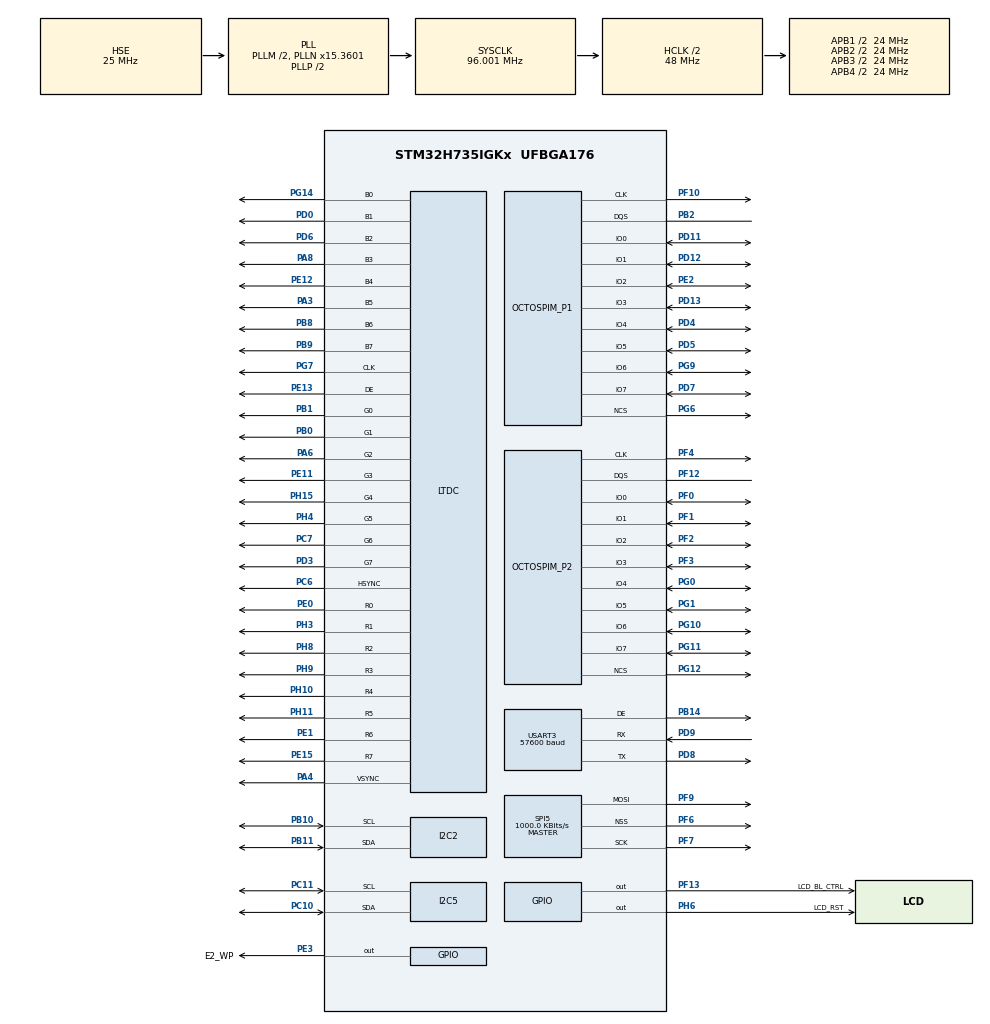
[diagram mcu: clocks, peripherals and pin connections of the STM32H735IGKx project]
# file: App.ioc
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CORTEX_M7.AccessPermission-Cortex_Memory_Protection_Unit_Region0_Settings=MPU_REGION_FULL_ACCESS
CORTEX_M7.AccessPermission-Cortex_Memory_Protection_Unit_Region2_Settings=MPU_REGION_FULL_ACCESS
CORTEX_M7.AccessPermission-Cortex_Memory_Protection_Unit_Region4_Settings=MPU_REGION_FULL_ACCESS
CORTEX_M7.BaseAddress-Cortex_Memory_Protection_Unit_Region0_Settings=0x24000000
CORTEX_M7.BaseAddress-Cortex_Memory_Protection_Unit_Region1_Settings=0x70000000
CORTEX_M7.BaseAddress-Cortex_Memory_Protection_Unit_Region2_Settings=0x70000000
CORTEX_M7.BaseAddress-Cortex_Memory_Protection_Unit_Region3_Settings=0x90000000
CORTEX_M7.BaseAddress-Cortex_Memory_Protection_Unit_Region4_Settings=0x90000000
CORTEX_M7.CPU_DCache=Enabled
CORTEX_M7.CPU_ICache=Enabled
CORTEX_M7.DisableExec-Cortex_Memory_Protection_Unit_Region0_Settings=MPU_INSTRUCTION_ACCESS_DISABLE
CORTEX_M7.DisableExec-Cortex_Memory_Protection_Unit_Region1_Settings=MPU_INSTRUCTION_ACCESS_DISABLE
CORTEX_M7.DisableExec-Cortex_Memory_Protection_Unit_Region2_Settings=MPU_INSTRUCTION_ACCESS_DISABLE
CORTEX_M7.DisableExec-Cortex_Memory_Protection_Unit_Region3_Settings=MPU_INSTRUCTION_ACCESS_DISABLE
CORTEX_M7.DisableExec-Cortex_Memory_Protection_Unit_Region4_Settings=MPU_INSTRUCTION_ACCESS_ENABLE
CORTEX_M7.Enable-Cortex_Memory_Protection_Unit_Region0_Settings=MPU_REGION_ENABLE
CORTEX_M7.Enable-Cortex_Memory_Protection_Unit_Region1_Settings=MPU_REGION_ENABLE
CORTEX_M7.Enable-Cortex_Memory_Protection_Unit_Region2_Settings=MPU_REGION_ENABLE
CORTEX_M7.Enable-Cortex_Memory_Protection_Unit_Region3_Settings=MPU_REGION_ENABLE
CORTEX_M7.Enable-Cortex_Memory_Protection_Unit_Region4_Settings=MPU_REGION_ENABLE
CORTEX_M7.IsBufferable-Cortex_Memory_Protection_Unit_Region0_Settings=MPU_ACCESS_BUFFERABLE
CORTEX_M7.IsBufferable-Cortex_Memory_Protection_Unit_Region2_Settings=MPU_ACCESS_BUFFERABLE
CORTEX_M7.IsBufferable-Cortex_Memory_Protection_Unit_Region4_Settings=MPU_ACCESS_NOT_BUFFERABLE
CORTEX_M7.IsCacheable-Cortex_Memory_Protection_Unit_Region0_Settings=MPU_ACCESS_CACHEABLE
CORTEX_M7.IsCacheable-Cortex_Memory_Protection_Unit_Region2_Settings=MPU_ACCESS_CACHEABLE
CORTEX_M7.IsCacheable-Cortex_Memory_Protection_Unit_Region4_Settings=MPU_ACCESS_CACHEABLE
CORTEX_M7.IsShareable-Cortex_Memory_Protection_Unit_Region2_Settings=MPU_ACCESS_NOT_SHAREABLE
CORTEX_M7.IsShareable-Cortex_Memory_Protection_Unit_Region4_Settings=MPU_ACCESS_NOT_SHAREABLE
CORTEX_M7.MPU_Control=MPU_PRIVILEGED_DEFAULT
CORTEX_M7.Size-Cortex_Memory_Protection_Unit_Region0_Settings=MPU_REGION_SIZE_512KB
CORTEX_M7.Size-Cortex_Memory_Protection_Unit_Region1_Settings=MPU_REGION_SIZE_512MB
CORTEX_M7.Size-Cortex_Memory_Protection_Unit_Region2_Settings=MPU_REGION_SIZE_8MB
CORTEX_M7.Size-Cortex_Memory_Protection_Unit_Region3_Settings=MPU_REGION_SIZE_512MB
CORTEX_M7.Size-Cortex_Memory_Protection_Unit_Region4_Settings=MPU_REGION_SIZE_64MB
DMA2D.ColorMode=DMA2D_OUTPUT_RGB888
DMA2D.Mode=DMA2D_R2M
FREERTOS.Tasks01=defaultTask,24,256,StartDefaultTask,Default,NULL,Dynamic,NULL,NULL;TouchGFXTask,40,1024,TouchGFX_Task,As external,NULL,Dynamic,NULL,NULL
FREERTOS.configUSE_APPLICATION_TASK_TAG=1
FREERTOS.configUSE_IDLE_HOOK=1
FREERTOS.configUSE_NEWLIB_REENTRANT=1
I2C2.Timing=0xC0000709
I2C5.Timing=0xC0000709
LTDC.ActiveH=672
LTDC.ActiveW=720
LTDC.Alpha0_L0=0
LTDC.Alpha_L0=255
LTDC.Blue=0
LTDC.Blue_L0=0
LTDC.FBStartAdress_L0=0x70000000
LTDC.FBStartAdress_L1=0x70000000
LTDC.Green=0
LTDC.Green_L0=0
LTDC.HBP=42
LTDC.HFP=44
LTDC.HSync=3
LTDC.ImageHeight_L0=672
LTDC.ImageWidth_L0=720
LTDC.Layers=0
LTDC.PixelFormat_L0=LTDC_PIXEL_FORMAT_ARGB8888
LTDC.Red=0
LTDC.Red_L0=0
LTDC.VBP=14
LTDC.VFP=16
LTDC.VSync=2
LTDC.WindowX0_L0=0
LTDC.WindowX1_L0=720
LTDC.WindowY0_L0=0
LTDC.WindowY1_L0=672
Mcu.Family=STM32H7
Mcu.Name=STM32H735IGKx
Mcu.Package=UFBGA176
NVIC.DMA2D_IRQn=true\:5\:0\:true\:false\:true\:false\:true\:true\:true
NVIC.LTDC_IRQn=true\:5\:0\:true\:false\:true\:false\:true\:true\:true
NVIC.PriorityGroup=NVIC_PRIORITYGROUP_4
NVIC.TIM6_DAC_IRQn=true\:15\:0\:false\:false\:true\:false\:false\:true\:true
NVIC.TimeBase=TIM6_DAC_IRQn
NVIC.TimeBaseIP=TIM6
OCTOSPI1.ChipSelectBoundary=0
OCTOSPI1.ChipSelectHighTime=2
OCTOSPI1.ClockPrescaler=2
OCTOSPI1.DelayBlockBypass=HAL_OSPI_DELAY_BLOCK_BYPASSED
OCTOSPI1.DelayHoldQuarterCycle=HAL_OSPI_DHQC_DISABLE
OCTOSPI1.DeviceSize=32
OCTOSPI1.FifoThreshold=4
OCTOSPI1.MemoryType=HAL_OSPI_MEMTYPE_MACRONIX
OCTOSPI2.AccessTime=6
OCTOSPI2.ChipSelectBoundary=23
OCTOSPI2.ChipSelectHighTime=4
OCTOSPI2.ClkChipSelectHighTime=0
OCTOSPI2.ClockPrescaler=2
OCTOSPI2.DelayBlockBypass=HAL_OSPI_DELAY_BLOCK_USED
OCTOSPI2.DelayHoldQuarterCycle=HAL_OSPI_DHQC_ENABLE
OCTOSPI2.DeviceSize=24
OCTOSPI2.FifoThreshold=4
OCTOSPI2.LatencyMode=HAL_OSPI_FIXED_LATENCY
OCTOSPI2.RWRecoveryTime=3
OCTOSPI2.Refresh=400
OCTOSPI2.WriteZeroLatency=HAL_OSPI_LATENCY_ON_WRITE
PA13(JTMS/SWDIO).Mode=Serial_Wire
PA13(JTMS/SWDIO).Signal=DEBUG_JTMS-SWDIO
PA14(JTCK/SWCLK).Mode=Serial_Wire
PA14(JTCK/SWCLK).Signal=DEBUG_JTCK-SWCLK
PA3.GPIO_Speed=GPIO_SPEED_FREQ_VERY_HIGH
PA3.Mode=RGB888
PA3.Signal=LTDC_B5
PA4.GPIO_Speed=GPIO_SPEED_FREQ_VERY_HIGH
PA4.Mode=RGB888
PA4.Signal=LTDC_VSYNC
PA6.GPIO_Speed=GPIO_SPEED_FREQ_VERY_HIGH
PA6.Mode=RGB888
PA6.Signal=LTDC_G2
PA8.GPIO_Speed=GPIO_SPEED_FREQ_VERY_HIGH
PA8.Mode=RGB888
PA8.Signal=LTDC_B3
PB0.GPIO_Speed=GPIO_SPEED_FREQ_VERY_HIGH
PB0.Mode=RGB888
PB0.Signal=LTDC_G1
PB1.GPIO_Speed=GPIO_SPEED_FREQ_VERY_HIGH
PB1.Mode=RGB888
PB1.Signal=LTDC_G0
PB10.Mode=I2C
PB10.Signal=I2C2_SCL
PB11.Mode=I2C
PB11.Signal=I2C2_SDA
PB14.Mode=Hardware Flow Control (RS485)
PB14.Signal=USART3_DE
PB2.Mode=OCTOSPI1_Port1_DQS
PB2.Signal=OCTOSPIM_P1_DQS
PB8.GPIO_FM8=SYSCFG_PMCR_I2C_PB8_FMP
PB8.GPIO_Speed=GPIO_SPEED_FREQ_VERY_HIGH
PB8.Mode=RGB888
PB8.Signal=LTDC_B6
PB9.GPIO_FM9=SYSCFG_PMCR_I2C_PB9_FMP
PB9.GPIO_Speed=GPIO_SPEED_FREQ_VERY_HIGH
PB9.Mode=RGB888
PB9.Signal=LTDC_B7
PC10.Mode=I2C
PC10.Signal=I2C5_SDA
PC11.Mode=I2C
PC11.Signal=I2C5_SCL
PC14-OSC32_IN.Mode=LSE-External-Oscillator
PC14-OSC32_IN.Signal=RCC_OSC32_IN
PC15-OSC32_OUT.Mode=LSE-External-Oscillator
PC15-OSC32_OUT.Signal=RCC_OSC32_OUT
PC6.GPIO_Speed=GPIO_SPEED_FREQ_VERY_HIGH
PC6.Mode=RGB888
PC6.Signal=LTDC_HSYNC
PC7.GPIO_Speed=GPIO_SPEED_FREQ_VERY_HIGH
PC7.Mode=RGB888
PC7.Signal=LTDC_G6
PD0.Mode=RGB888
PD0.Signal=LTDC_B1
PD11.Mode=OCTOSPI1_IOL_Port1L
PD11.Signal=OCTOSPIM_P1_IO0
PD12.Mode=OCTOSPI1_IOL_Port1L
PD12.Signal=OCTOSPIM_P1_IO1
PD13.Mode=OCTOSPI1_IOL_Port1L
PD13.Signal=OCTOSPIM_P1_IO3
PD3.GPIO_Speed=GPIO_SPEED_FREQ_VERY_HIGH
PD3.Mode=RGB888
PD3.Signal=LTDC_G7
PD4.Mode=OCTOSPI1_IOH_Port1H
PD4.Signal=OCTOSPIM_P1_IO4
PD5.Mode=OCTOSPI1_IOH_Port1H
PD5.Signal=OCTOSPIM_P1_IO5
PD6.GPIO_Speed=GPIO_SPEED_FREQ_VERY_HIGH
PD6.Mode=RGB888
PD6.Signal=LTDC_B2
PD7.Mode=OCTOSPI1_IOH_Port1H
PD7.Signal=OCTOSPIM_P1_IO7
PD8.Mode=Asynchronous
PD8.Signal=USART3_TX
PD9.Mode=Asynchronous
PD9.Signal=USART3_RX
PE0.Mode=RGB888
PE0.Signal=LTDC_R0
PE1.GPIO_Speed=GPIO_SPEED_FREQ_VERY_HIGH
PE1.Mode=RGB888
PE1.Signal=LTDC_R6
PE11.GPIO_Speed=GPIO_SPEED_FREQ_VERY_HIGH
PE11.Mode=RGB888
PE11.Signal=LTDC_G3
PE12.GPIO_Speed=GPIO_SPEED_FREQ_VERY_HIGH
PE12.Mode=RGB888
PE12.Signal=LTDC_B4
PE13.GPIO_Speed=GPIO_SPEED_FREQ_VERY_HIGH
PE13.Mode=RGB888
PE13.Signal=LTDC_DE
PE15.GPIO_Speed=GPIO_SPEED_FREQ_VERY_HIGH
PE15.Mode=RGB888
PE15.Signal=LTDC_R7
PE2.Mode=OCTOSPI1_IOL_Port1L
PE2.Signal=OCTOSPIM_P1_IO2
PE3.GPIO_Label=E2_WP
PE3.Signal=GPIO_Output
PF0.Mode=OCTOSPI2_IOL_Port2L
PF0.Signal=OCTOSPIM_P2_IO0
PF1.Mode=OCTOSPI2_IOL_Port2L
PF1.Signal=OCTOSPIM_P2_IO1
PF10.Mode=O1_P1_CLK
PF10.Signal=OCTOSPIM_P1_CLK
PF12.Mode=OCTOSPI2_Port2_DQS
PF12.Signal=OCTOSPIM_P2_DQS
PF13.GPIO_Label=LCD_BL_CTRL
PF13.PinState=GPIO_PIN_RESET
PF13.Signal=GPIO_Output
PF14.GPIO_Pu=GPIO_PULLUP
PF14.Signal=I2C4_SCL
PF15.GPIO_Pu=GPIO_PULLUP
PF15.Signal=I2C4_SDA
PF2.Mode=OCTOSPI2_IOL_Port2L
PF2.Signal=OCTOSPIM_P2_IO2
PF3.Mode=OCTOSPI2_IOL_Port2L
PF3.Signal=OCTOSPIM_P2_IO3
PF4.Mode=O2_P2_CLK
PF4.Signal=OCTOSPIM_P2_CLK
PF6.Mode=NSS_Signal_Hard_Output
PF6.Signal=SPI5_NSS
PF7.Mode=TX_Only_Simplex_Unidirect_Master
PF7.Signal=SPI5_SCK
PF9.Mode=TX_Only_Simplex_Unidirect_Master
PF9.Signal=SPI5_MOSI
PG0.Mode=OCTOSPI2_IOH_Port2H
PG0.Signal=OCTOSPIM_P2_IO4
PG1.Mode=OCTOSPI2_IOH_Port2H
PG1.Signal=OCTOSPIM_P2_IO5
PG10.Mode=OCTOSPI2_IOH_Port2H
PG10.Signal=OCTOSPIM_P2_IO6
PG11.Mode=OCTOSPI2_IOH_Port2H
PG11.Signal=OCTOSPIM_P2_IO7
PG12.Mode=OCTOSPI2_Port2_NCS
PG12.Signal=OCTOSPIM_P2_NCS
PG14.GPIO_Speed=GPIO_SPEED_FREQ_VERY_HIGH
PG14.Mode=RGB888
PG14.Signal=LTDC_B0
PG6.Mode=OCTOSPI1_Port1_NCS
PG6.Signal=OCTOSPIM_P1_NCS
PG7.GPIO_Speed=GPIO_SPEED_FREQ_VERY_HIGH
PG7.Mode=RGB888
PG7.Signal=LTDC_CLK
PG9.Mode=OCTOSPI1_IOH_Port1H
PG9.Signal=OCTOSPIM_P1_IO6
PH0-OSC_IN.Mode=HSE-External-Oscillator
PH0-OSC_IN.Signal=RCC_OSC_IN
PH1-OSC_OUT.Mode=HSE-External-Oscillator
PH1-OSC_OUT.Signal=RCC_OSC_OUT
PH10.GPIO_Speed=GPIO_SPEED_FREQ_VERY_HIGH
PH10.Mode=RGB888
PH10.Signal=LTDC_R4
PH11.GPIO_Speed=GPIO_SPEED_FREQ_VERY_HIGH
PH11.Mode=RGB888
PH11.Signal=LTDC_R5
PH15.GPIO_Speed=GPIO_SPEED_FREQ_VERY_HIGH
PH15.Mode=RGB888
PH15.Signal=LTDC_G4
PH3.GPIO_Speed=GPIO_SPEED_FREQ_VERY_HIGH
PH3.Mode=RGB888
PH3.Signal=LTDC_R1
PH4.GPIO_Speed=GPIO_SPEED_FREQ_VERY_HIGH
PH4.Mode=RGB888
PH4.Signal=LTDC_G5
PH6.GPIO_Label=LCD_RST
PH6.PinState=GPIO_PIN_RESET
PH6.Signal=GPIO_Output
PH8.GPIO_Speed=GPIO_SPEED_FREQ_VERY_HIGH
PH8.Mode=RGB888
PH8.Signal=LTDC_R2
PH9.GPIO_Speed=GPIO_SPEED_FREQ_VERY_HIGH
PH9.Mode=RGB888
PH9.Signal=LTDC_R3
ProjectManager.HeapSize=0x1000
ProjectManager.StackSize=0x1000
ProjectManager.TargetToolchain=STM32CubeIDE
RCC.ADCFreq_Value=19200134.27734375
RCC.APB1Freq_Value=24000167.846679688
RCC.APB2Freq_Value=24000167.846679688
RCC.APB3Freq_Value=24000167.846679688
RCC.APB4Freq_Value=24000167.846679688
RCC.CortexFreq_Value=96000671.38671875
RCC.D1PPRE=RCC_APB3_DIV2
RCC.D2PPRE1=RCC_APB1_DIV2
RCC.D2PPRE2=RCC_APB2_DIV2
RCC.D3PPRE=RCC_APB4_DIV2
RCC.DIVM1=2
RCC.DIVM2=2
RCC.DIVM3=1
RCC.DIVN1=15
RCC.DIVN2=15
RCC.DIVN3=4
RCC.DIVP2=10
RCC.DIVQ3=5
RCC.DIVR3=9
RCC.HCLKFreq_Value=48000335.693359375
RCC.HPRE=RCC_HCLK_DIV2
RCC.PLL2FRACN=2950
RCC.PLL3FRACN=0
RCC.PLLFRACN=2950
RCC.PLLSourceVirtual=RCC_PLLSOURCE_HSE
RCC.QSPICLockSelection=RCC_OSPICLKSOURCE_PLL2
RCC.SYSCLKFreq_VALUE=96000671.38671875
RCC.SYSCLKSource=RCC_SYSCLKSOURCE_PLLCLK
RCC.Spi45ClockSelection=RCC_SPI45CLKSOURCE_HSI
RCC.SupplySource=PWR_DIRECT_SMPS_SUPPLY
RCC.USBFreq_Value=96000671.38671875
SPI5.BaudRatePrescaler=SPI_BAUDRATEPRESCALER_64
SPI5.CalculateBaudRate=1000.0 KBits/s
SPI5.DataSize=SPI_DATASIZE_9BIT
SPI5.Direction=SPI_DIRECTION_2LINES_TXONLY
SPI5.Mode=SPI_MODE_MASTER
SPI5.VirtualNSS=VM_NSSHARD
SPI5.VirtualType=VM_MASTER
STMicroelectronics.X-CUBE-TOUCHGFX.4.20.0.ApplicationCcGraphicsJjApplication=TouchGFXOoGenerator
STMicroelectronics.X-CUBE-TOUCHGFX.4.20.0.tgfx_address1=0x70000000
STMicroelectronics.X-CUBE-TOUCHGFX.4.20.0.tgfx_address2=0x701D8800
STMicroelectronics.X-CUBE-TOUCHGFX.4.20.0.tgfx_buffering_strategy=Double
STMicroelectronics.X-CUBE-TOUCHGFX.4.20.0.tgfx_display_interface=disp_ltdc
STMicroelectronics.X-CUBE-TOUCHGFX.4.20.0.tgfx_hardware_accelerator=dma_2d
STMicroelectronics.X-CUBE-TOUCHGFX.4.20.0.tgfx_location=By Address
STMicroelectronics.X-CUBE-TOUCHGFX.4.20.0.tgfx_pixel_format=ARGB8888\:32
STMicroelectronics.X-CUBE-TOUCHGFX.4.20.0.tgfx_vsync=vsync_ltdc
USART3.BaudRate=57600
USART3.VirtualMode-Asynchronous=VM_ASYNC
USART3.VirtualMode-Hardware\ Flow\ Control\ (RS485)=VM_ASYNC
VP_CRC_VS_CRC.Mode=CRC_Activate
VP_DMA2D_VS_DMA2D.Mode=DMA2D_Activate
VP_FREERTOS_VS_CMSIS_V2.Mode=CMSIS_V2
VP_OCTOSPI1_VS_octo.Mode=octo_mode
VP_OCTOSPI2_VS_octo.Mode=hyperbus_mode
VP_STMicroelectronics.X-CUBE-TOUCHGFX_VS_GraphicsJjApplication_4.20.0.Mode=GraphicsJjApplication
VP_SYS_VS_tim6.Mode=TIM6
board=custom

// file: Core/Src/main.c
/* USER CODE BEGIN Header */
/**
  ******************************************************************************
  * @file           : main.c
  * @brief          : Main program body
  ******************************************************************************
  * @attention
  *
  * Copyright (c) 2023 STMicroelectronics.
  * All rights reserved.
  *
  * This software is licensed under terms that can be found in the LICENSE file
  * in the root directory of this software component.
  * If no LICENSE file comes with this software, it is provided AS-IS.
  *
  ******************************************************************************
  */
/* USER CODE END Header */
#include "main.h"
#include "cmsis_os.h"
#include "app_touchgfx.h"

/* USER CODE BEGIN Includes */
#include "stm32h735g_discovery_ospi.h"
#include "stm32h7xx_hal_ospi.h"
#include "L8_320x240.h"
#include "RGB565_320x240.h"
#include "app.h"
#include "framework.h"
#include "project.h"
/* USER CODE END Includes */

CRC_HandleTypeDef hcrc;

DMA2D_HandleTypeDef hdma2d;

I2C_HandleTypeDef hi2c2;
I2C_HandleTypeDef hi2c5;

LTDC_HandleTypeDef hltdc;

OSPI_HandleTypeDef hospi1;
OSPI_HandleTypeDef hospi2;

SPI_HandleTypeDef hspi5;

UART_HandleTypeDef huart3;

/* Definitions for defaultTask */
osThreadId_t defaultTaskHandle;
const osThreadAttr_t defaultTask_attributes = {
  .name = "defaultTask",
  .stack_size = 256 * 4,
  .priority = (osPriority_t) osPriorityNormal,
};
/* Definitions for TouchGFXTask */
osThreadId_t TouchGFXTaskHandle;
const osThreadAttr_t TouchGFXTask_attributes = {
  .name = "TouchGFXTask",
  .stack_size = 1024 * 4,
  .priority = (osPriority_t) osPriorityHigh,
};

void SystemClock_Config(void);
void PeriphCommonClock_Config(void);
static void MPU_Config(void);
static void MX_GPIO_Init(void);
static void MX_LTDC_Init(void);
static void MX_OCTOSPI1_Init(void);
static void MX_OCTOSPI2_Init(void);
static void MX_SPI5_Init(void);
static void MX_USART3_UART_Init(void);
static void MX_CRC_Init(void);
static void MX_DMA2D_Init(void);
static void MX_I2C2_Init(void);
static void MX_I2C5_Init(void);
void StartDefaultTask(void *argument);
extern void TouchGFX_Task(void *argument);

/* USER CODE BEGIN PFP */
void NV3052_RGB_init(void);
/* USER CODE END PFP */

int main(void)
{

  /* MPU Configuration--------------------------------------------------------*/
  MPU_Config();

  /* Enable I-Cache---------------------------------------------------------*/
  SCB_EnableICache();

  /* Enable D-Cache---------------------------------------------------------*/
  SCB_EnableDCache();

  /* MCU Configuration--------------------------------------------------------*/

  /* Reset of all peripherals, Initializes the Flash interface and the Systick. */
  HAL_Init();

  /* Configure the system clock */
  SystemClock_Config();

/* Configure the peripherals common clocks */
  PeriphCommonClock_Config();

  /* USER CODE BEGIN SysInit */
  MX_I2C2_Init();
  FMK_Boot();

  MX_GPIO_Init();
  MX_OCTOSPI2_Init();
  /* USER CODE END SysInit */

  /* Initialize all configured peripherals */
  #define CUBEMX_INITIALIZATION_MODIFIED
  MX_GPIO_Init();
  MX_LTDC_Init();
  MX_OCTOSPI1_Init();
//  MX_OCTOSPI2_Init();
  MX_SPI5_Init();
  MX_USART3_UART_Init();
  MX_CRC_Init();
  MX_DMA2D_Init();
  MX_I2C2_Init();
  MX_I2C5_Init();
  MX_TouchGFX_Init();
  /* Call PreOsInit function */
  MX_TouchGFX_PreOSInit();
  /* USER CODE BEGIN 2 */

 #ifndef CUBEMX_INITIALIZATION_MODIFIED
#error "CubeMX generated hardware initialization sequence must be modified in main.c"
//Copy and uncomment the following line at the top of the original section above
//  #define CUBEMX_INITIALIZATION_MODIFIED
//Comment the following line in the original section above
//  MX_OCTOSPI2_Init();
#endif

  /* USER CODE END 2 */

  /* Init scheduler */
  osKernelInitialize();

  /* Create the thread(s) */
  /* creation of defaultTask */
  defaultTaskHandle = osThreadNew(StartDefaultTask, NULL, &defaultTask_attributes);

  /* creation of TouchGFXTask */
  TouchGFXTaskHandle = osThreadNew(TouchGFX_Task, NULL, &TouchGFXTask_attributes);

  /* USER CODE BEGIN RTOS_EVENTS */
  /* add events, ... */
  FMK_Init();
  /* USER CODE END RTOS_EVENTS */

  /* Start scheduler */
  osKernelStart();
  /* We should never get here as control is now taken by the scheduler */
  /* Infinite loop */
  while (1)
  {

  }
}

void SystemClock_Config(void)
{
  RCC_OscInitTypeDef RCC_OscInitStruct = {0};
  RCC_ClkInitTypeDef RCC_ClkInitStruct = {0};

  /** Supply configuration update enable
  */
  HAL_PWREx_ConfigSupply(PWR_DIRECT_SMPS_SUPPLY);

  /** Configure the main internal regulator output voltage
  */
  __HAL_PWR_VOLTAGESCALING_CONFIG(PWR_REGULATOR_VOLTAGE_SCALE3);

  while(!__HAL_PWR_GET_FLAG(PWR_FLAG_VOSRDY)) {}

  /** Initializes the RCC Oscillators according to the specified parameters
  * in the RCC_OscInitTypeDef structure.
  */
  RCC_OscInitStruct.OscillatorType = RCC_OSCILLATORTYPE_HSI|RCC_OSCILLATORTYPE_HSE;
  RCC_OscInitStruct.HSEState = RCC_HSE_ON;
  RCC_OscInitStruct.HSIState = RCC_HSI_DIV1;
  RCC_OscInitStruct.HSICalibrationValue = 64;
  RCC_OscInitStruct.PLL.PLLState = RCC_PLL_ON;
  RCC_OscInitStruct.PLL.PLLSource = RCC_PLLSOURCE_HSE;
  RCC_OscInitStruct.PLL.PLLM = 2;
  RCC_OscInitStruct.PLL.PLLN = 15;
  RCC_OscInitStruct.PLL.PLLP = 2;
  RCC_OscInitStruct.PLL.PLLQ = 2;
  RCC_OscInitStruct.PLL.PLLR = 2;
  RCC_OscInitStruct.PLL.PLLRGE = RCC_PLL1VCIRANGE_3;
  RCC_OscInitStruct.PLL.PLLVCOSEL = RCC_PLL1VCOWIDE;
  RCC_OscInitStruct.PLL.PLLFRACN = 2950;
  if (HAL_RCC_OscConfig(&RCC_OscInitStruct) != HAL_OK)
  {
    Error_Handler();
  }

  /** Initializes the CPU, AHB and APB buses clocks
  */
  RCC_ClkInitStruct.ClockType = RCC_CLOCKTYPE_HCLK|RCC_CLOCKTYPE_SYSCLK
                              |RCC_CLOCKTYPE_PCLK1|RCC_CLOCKTYPE_PCLK2
                              |RCC_CLOCKTYPE_D3PCLK1|RCC_CLOCKTYPE_D1PCLK1;
  RCC_ClkInitStruct.SYSCLKSource = RCC_SYSCLKSOURCE_PLLCLK;
  RCC_ClkInitStruct.SYSCLKDivider = RCC_SYSCLK_DIV1;
  RCC_ClkInitStruct.AHBCLKDivider = RCC_HCLK_DIV2;
  RCC_ClkInitStruct.APB3CLKDivider = RCC_APB3_DIV2;
  RCC_ClkInitStruct.APB1CLKDivider = RCC_APB1_DIV2;
  RCC_ClkInitStruct.APB2CLKDivider = RCC_APB2_DIV2;
  RCC_ClkInitStruct.APB4CLKDivider = RCC_APB4_DIV2;

  if (HAL_RCC_ClockConfig(&RCC_ClkInitStruct, FLASH_LATENCY_1) != HAL_OK)
  {
    Error_Handler();
  }
}

void PeriphCommonClock_Config(void)
{
  RCC_PeriphCLKInitTypeDef PeriphClkInitStruct = {0};

  /** Initializes the peripherals clock
  */
  PeriphClkInitStruct.PeriphClockSelection = RCC_PERIPHCLK_OSPI;
  PeriphClkInitStruct.PLL2.PLL2M = 2;
  PeriphClkInitStruct.PLL2.PLL2N = 15;
  PeriphClkInitStruct.PLL2.PLL2P = 10;
  PeriphClkInitStruct.PLL2.PLL2Q = 2;
  PeriphClkInitStruct.PLL2.PLL2R = 2;
  PeriphClkInitStruct.PLL2.PLL2RGE = RCC_PLL2VCIRANGE_3;
  PeriphClkInitStruct.PLL2.PLL2VCOSEL = RCC_PLL2VCOWIDE;
  PeriphClkInitStruct.PLL2.PLL2FRACN = 2950;
  PeriphClkInitStruct.OspiClockSelection = RCC_OSPICLKSOURCE_PLL2;
  if (HAL_RCCEx_PeriphCLKConfig(&PeriphClkInitStruct) != HAL_OK)
  {
    Error_Handler();
  }
}

static void MX_CRC_Init(void)
{

  hcrc.Instance = CRC;
  hcrc.Init.DefaultPolynomialUse = DEFAULT_POLYNOMIAL_ENABLE;
  hcrc.Init.DefaultInitValueUse = DEFAULT_INIT_VALUE_ENABLE;
  hcrc.Init.InputDataInversionMode = CRC_INPUTDATA_INVERSION_NONE;
  hcrc.Init.OutputDataInversionMode = CRC_OUTPUTDATA_INVERSION_DISABLE;
  hcrc.InputDataFormat = CRC_INPUTDATA_FORMAT_BYTES;
  if (HAL_CRC_Init(&hcrc) != HAL_OK)
  {
    Error_Handler();
  }

}

static void MX_DMA2D_Init(void)
{

  hdma2d.Instance = DMA2D;
  hdma2d.Init.Mode = DMA2D_R2M;
  hdma2d.Init.ColorMode = DMA2D_OUTPUT_RGB888;
  hdma2d.Init.OutputOffset = 0;
  if (HAL_DMA2D_Init(&hdma2d) != HAL_OK)
  {
    Error_Handler();
  }

}

static void MX_I2C2_Init(void)
{

  hi2c2.Instance = I2C2;
  hi2c2.Init.Timing = 0xC0000709;
  hi2c2.Init.OwnAddress1 = 0;
  hi2c2.Init.AddressingMode = I2C_ADDRESSINGMODE_7BIT;
  hi2c2.Init.DualAddressMode = I2C_DUALADDRESS_DISABLE;
  hi2c2.Init.OwnAddress2 = 0;
  hi2c2.Init.OwnAddress2Masks = I2C_OA2_NOMASK;
  hi2c2.Init.GeneralCallMode = I2C_GENERALCALL_DISABLE;
  hi2c2.Init.NoStretchMode = I2C_NOSTRETCH_DISABLE;
  if (HAL_I2C_Init(&hi2c2) != HAL_OK)
  {
    Error_Handler();
  }

  /** Configure Analogue filter
  */
  if (HAL_I2CEx_ConfigAnalogFilter(&hi2c2, I2C_ANALOGFILTER_ENABLE) != HAL_OK)
  {
    Error_Handler();
  }

  /** Configure Digital filter
  */
  if (HAL_I2CEx_ConfigDigitalFilter(&hi2c2, 0) != HAL_OK)
  {
    Error_Handler();
  }

}

static void MX_I2C5_Init(void)
{

  hi2c5.Instance = I2C5;
  hi2c5.Init.Timing = 0xC0000709;
  hi2c5.Init.OwnAddress1 = 0;
  hi2c5.Init.AddressingMode = I2C_ADDRESSINGMODE_7BIT;
  hi2c5.Init.DualAddressMode = I2C_DUALADDRESS_DISABLE;
  hi2c5.Init.OwnAddress2 = 0;
  hi2c5.Init.OwnAddress2Masks = I2C_OA2_NOMASK;
  hi2c5.Init.GeneralCallMode = I2C_GENERALCALL_DISABLE;
  hi2c5.Init.NoStretchMode = I2C_NOSTRETCH_DISABLE;
  if (HAL_I2C_Init(&hi2c5) != HAL_OK)
  {
    Error_Handler();
  }

  /** Configure Analogue filter
  */
  if (HAL_I2CEx_ConfigAnalogFilter(&hi2c5, I2C_ANALOGFILTER_ENABLE) != HAL_OK)
  {
    Error_Handler();
  }

  /** Configure Digital filter
  */
  if (HAL_I2CEx_ConfigDigitalFilter(&hi2c5, 0) != HAL_OK)
  {
    Error_Handler();
  }

}

static void MX_LTDC_Init(void)
{

  /* USER CODE BEGIN LTDC_Init 0 */
  MX_SPI5_Init();
  NV3052_RGB_init();
  /* USER CODE END LTDC_Init 0 */

  LTDC_LayerCfgTypeDef pLayerCfg = {0};

  hltdc.Instance = LTDC;
  hltdc.Init.HSPolarity = LTDC_HSPOLARITY_AL;
  hltdc.Init.VSPolarity = LTDC_VSPOLARITY_AL;
  hltdc.Init.DEPolarity = LTDC_DEPOLARITY_AL;
  hltdc.Init.PCPolarity = LTDC_PCPOLARITY_IPC;
  hltdc.Init.HorizontalSync = 2;
  hltdc.Init.VerticalSync = 1;
  hltdc.Init.AccumulatedHBP = 44;
  hltdc.Init.AccumulatedVBP = 15;
  hltdc.Init.AccumulatedActiveW = 764;
  hltdc.Init.AccumulatedActiveH = 687;
  hltdc.Init.TotalWidth = 808;
  hltdc.Init.TotalHeigh = 703;
  hltdc.Init.Backcolor.Blue = 0;
  hltdc.Init.Backcolor.Green = 0;
  hltdc.Init.Backcolor.Red = 0;
  if (HAL_LTDC_Init(&hltdc) != HAL_OK)
  {
    Error_Handler();
  }
  pLayerCfg.WindowX0 = 0;
  pLayerCfg.WindowX1 = 720;
  pLayerCfg.WindowY0 = 0;
  pLayerCfg.WindowY1 = 672;
  pLayerCfg.PixelFormat = LTDC_PIXEL_FORMAT_ARGB8888;
  pLayerCfg.Alpha = 255;
  pLayerCfg.Alpha0 = 0;
  pLayerCfg.BlendingFactor1 = LTDC_BLENDING_FACTOR1_CA;
  pLayerCfg.BlendingFactor2 = LTDC_BLENDING_FACTOR2_CA;
  pLayerCfg.FBStartAdress = 0x70000000;
  pLayerCfg.ImageWidth = 720;
  pLayerCfg.ImageHeight = 672;
  pLayerCfg.Backcolor.Blue = 0;
  pLayerCfg.Backcolor.Green = 0;
  pLayerCfg.Backcolor.Red = 0;
  if (HAL_LTDC_ConfigLayer(&hltdc, &pLayerCfg, 0) != HAL_OK)
  {
    Error_Handler();
  }

}

static void MX_OCTOSPI1_Init(void)
{

  /* USER CODE BEGIN OCTOSPI1_Init 0 */
  BSP_OSPI_NOR_Init_t ospi_nor_int;
  /* USER CODE END OCTOSPI1_Init 0 */

  OSPIM_CfgTypeDef sOspiManagerCfg = {0};

  /* OCTOSPI1 parameter configuration*/
  hospi1.Instance = OCTOSPI1;
  hospi1.Init.FifoThreshold = 4;
  hospi1.Init.DualQuad = HAL_OSPI_DUALQUAD_DISABLE;
  hospi1.Init.MemoryType = HAL_OSPI_MEMTYPE_MACRONIX;
  hospi1.Init.DeviceSize = 32;
  hospi1.Init.ChipSelectHighTime = 2;
  hospi1.Init.FreeRunningClock = HAL_OSPI_FREERUNCLK_DISABLE;
  hospi1.Init.ClockMode = HAL_OSPI_CLOCK_MODE_0;
  hospi1.Init.WrapSize = HAL_OSPI_WRAP_NOT_SUPPORTED;
  hospi1.Init.ClockPrescaler = 2;
  hospi1.Init.SampleShifting = HAL_OSPI_SAMPLE_SHIFTING_NONE;
  hospi1.Init.DelayHoldQuarterCycle = HAL_OSPI_DHQC_DISABLE;
  hospi1.Init.ChipSelectBoundary = 0;
  hospi1.Init.DelayBlockBypass = HAL_OSPI_DELAY_BLOCK_BYPASSED;
  hospi1.Init.MaxTran = 0;
  hospi1.Init.Refresh = 0;
  if (HAL_OSPI_Init(&hospi1) != HAL_OK)
  {
    Error_Handler();
  }
  sOspiManagerCfg.ClkPort = 1;
  sOspiManagerCfg.DQSPort = 1;
  sOspiManagerCfg.NCSPort = 1;
  sOspiManagerCfg.IOLowPort = HAL_OSPIM_IOPORT_1_LOW;
  sOspiManagerCfg.IOHighPort = HAL_OSPIM_IOPORT_1_HIGH;
  if (HAL_OSPIM_Config(&hospi1, &sOspiManagerCfg, HAL_OSPI_TIMEOUT_DEFAULT_VALUE) != HAL_OK)
  {
    Error_Handler();
  }
  /* USER CODE BEGIN OCTOSPI1_Init 2 */

//	Init();

//	MassErase(0);
//	SectorErase(0x180000 ,0x18FFFF);

  HAL_OSPI_DeInit(&hospi1);
  ospi_nor_int.InterfaceMode = BSP_OSPI_NOR_OPI_MODE;
  ospi_nor_int.TransferRate  = BSP_OSPI_NOR_DTR_TRANSFER;
  BSP_OSPI_NOR_DeInit(0);
  if(BSP_OSPI_NOR_Init(0, &ospi_nor_int) != BSP_ERROR_NONE)
  {
    Error_Handler();
  }
  if(BSP_OSPI_NOR_EnableMemoryMappedMode(0) != BSP_ERROR_NONE)
  {
    Error_Handler();
  }

//	SectorErase(0x180000 ,0x18FFFF);
  /* USER CODE END OCTOSPI1_Init 2 */

}

static void MX_OCTOSPI2_Init(void)
{

  OSPIM_CfgTypeDef sOspiManagerCfg = {0};
  OSPI_HyperbusCfgTypeDef sHyperBusCfg = {0};

  /* USER CODE BEGIN OCTOSPI2_Init 1 */
  OSPI_HyperbusCmdTypeDef sCommand = {0};
  OSPI_MemoryMappedTypeDef sMemMappedCfg = {0};
  /* USER CODE END OCTOSPI2_Init 1 */
  /* OCTOSPI2 parameter configuration*/
  hospi2.Instance = OCTOSPI2;
  hospi2.Init.FifoThreshold = 4;
  hospi2.Init.DualQuad = HAL_OSPI_DUALQUAD_DISABLE;
  hospi2.Init.MemoryType = HAL_OSPI_MEMTYPE_HYPERBUS;
  hospi2.Init.DeviceSize = 24;
  hospi2.Init.ChipSelectHighTime = 4;
  hospi2.Init.FreeRunningClock = HAL_OSPI_FREERUNCLK_DISABLE;
  hospi2.Init.ClockMode = HAL_OSPI_CLOCK_MODE_0;
  hospi2.Init.WrapSize = HAL_OSPI_WRAP_NOT_SUPPORTED;
  hospi2.Init.ClockPrescaler = 2;
  hospi2.Init.SampleShifting = HAL_OSPI_SAMPLE_SHIFTING_NONE;
  hospi2.Init.DelayHoldQuarterCycle = HAL_OSPI_DHQC_ENABLE;
  hospi2.Init.ChipSelectBoundary = 23;
  hospi2.Init.DelayBlockBypass = HAL_OSPI_DELAY_BLOCK_USED;
  hospi2.Init.MaxTran = 0;
  hospi2.Init.Refresh = 400;
  if (HAL_OSPI_Init(&hospi2) != HAL_OK)
  {
    Error_Handler();
  }
  sOspiManagerCfg.ClkPort = 2;
  sOspiManagerCfg.DQSPort = 2;
  sOspiManagerCfg.NCSPort = 2;
  sOspiManagerCfg.IOLowPort = HAL_OSPIM_IOPORT_2_LOW;
  sOspiManagerCfg.IOHighPort = HAL_OSPIM_IOPORT_2_HIGH;
  if (HAL_OSPIM_Config(&hospi2, &sOspiManagerCfg, HAL_OSPI_TIMEOUT_DEFAULT_VALUE) != HAL_OK)
  {
    Error_Handler();
  }
  sHyperBusCfg.RWRecoveryTime = 3;
  sHyperBusCfg.AccessTime = 6;
  sHyperBusCfg.WriteZeroLatency = HAL_OSPI_LATENCY_ON_WRITE;
  sHyperBusCfg.LatencyMode = HAL_OSPI_FIXED_LATENCY;
  if (HAL_OSPI_HyperbusCfg(&hospi2, &sHyperBusCfg, HAL_OSPI_TIMEOUT_DEFAULT_VALUE) != HAL_OK)
  {
    Error_Handler();
  }
  /* USER CODE BEGIN OCTOSPI2_Init 2 */
  sCommand.AddressSpace = HAL_OSPI_MEMORY_ADDRESS_SPACE;
  sCommand.AddressSize  = HAL_OSPI_ADDRESS_32_BITS;
  sCommand.DQSMode      = HAL_OSPI_DQS_ENABLE;
  sCommand.Address      = 0;
  sCommand.NbData       = 1;

  if (HAL_OSPI_HyperbusCmd(&hospi2, &sCommand, HAL_OSPI_TIMEOUT_DEFAULT_VALUE) != HAL_OK)
  {
    Error_Handler();
  }

  sMemMappedCfg.TimeOutActivation = HAL_OSPI_TIMEOUT_COUNTER_DISABLE;

  if (HAL_OSPI_MemoryMapped(&hospi2, &sMemMappedCfg) != HAL_OK)
  {
    Error_Handler();
  }

  //Reset frame buffer external RAM memory to all 0s in order to get rid of the white noise or previous screen at startup
  uint32_t* ram = (uint32_t*)0x70000000U;
  for(uint32_t i = 0; i < (((720*672*3)*2)/4) - 1; i++)
    ram[i] = 0;
  /* USER CODE END OCTOSPI2_Init 2 */

}

static void MX_SPI5_Init(void)
{

  /* SPI5 parameter configuration*/
  hspi5.Instance = SPI5;
  hspi5.Init.Mode = SPI_MODE_MASTER;
  hspi5.Init.Direction = SPI_DIRECTION_2LINES_TXONLY;
  hspi5.Init.DataSize = SPI_DATASIZE_9BIT;
  hspi5.Init.CLKPolarity = SPI_POLARITY_LOW;
  hspi5.Init.CLKPhase = SPI_PHASE_1EDGE;
  hspi5.Init.NSS = SPI_NSS_HARD_OUTPUT;
  hspi5.Init.BaudRatePrescaler = SPI_BAUDRATEPRESCALER_64;
  hspi5.Init.FirstBit = SPI_FIRSTBIT_MSB;
  hspi5.Init.TIMode = SPI_TIMODE_DISABLE;
  hspi5.Init.CRCCalculation = SPI_CRCCALCULATION_DISABLE;
  hspi5.Init.CRCPolynomial = 0x0;
  hspi5.Init.NSSPMode = SPI_NSS_PULSE_ENABLE;
  hspi5.Init.NSSPolarity = SPI_NSS_POLARITY_LOW;
  hspi5.Init.FifoThreshold = SPI_FIFO_THRESHOLD_01DATA;
  hspi5.Init.TxCRCInitializationPattern = SPI_CRC_INITIALIZATION_ALL_ZERO_PATTERN;
  hspi5.Init.RxCRCInitializationPattern = SPI_CRC_INITIALIZATION_ALL_ZERO_PATTERN;
  hspi5.Init.MasterSSIdleness = SPI_MASTER_SS_IDLENESS_00CYCLE;
  hspi5.Init.MasterInterDataIdleness = SPI_MASTER_INTERDATA_IDLENESS_00CYCLE;
  hspi5.Init.MasterReceiverAutoSusp = SPI_MASTER_RX_AUTOSUSP_DISABLE;
  hspi5.Init.MasterKeepIOState = SPI_MASTER_KEEP_IO_STATE_DISABLE;
  hspi5.Init.IOSwap = SPI_IO_SWAP_DISABLE;
  if (HAL_SPI_Init(&hspi5) != HAL_OK)
  {
    Error_Handler();
  }

}

static void MX_USART3_UART_Init(void)
{

  huart3.Instance = USART3;
  huart3.Init.BaudRate = 57600;
  huart3.Init.WordLength = UART_WORDLENGTH_8B;
  huart3.Init.StopBits = UART_STOPBITS_1;
  huart3.Init.Parity = UART_PARITY_NONE;
  huart3.Init.Mode = UART_MODE_TX_RX;
  huart3.Init.HwFlowCtl = UART_HWCONTROL_NONE;
  huart3.Init.OverSampling = UART_OVERSAMPLING_16;
  huart3.Init.OneBitSampling = UART_ONE_BIT_SAMPLE_DISABLE;
  huart3.Init.ClockPrescaler = UART_PRESCALER_DIV1;
  huart3.AdvancedInit.AdvFeatureInit = UART_ADVFEATURE_NO_INIT;
  if (HAL_RS485Ex_Init(&huart3, UART_DE_POLARITY_HIGH, 0, 0) != HAL_OK)
  {
    Error_Handler();
  }
  if (HAL_UARTEx_SetTxFifoThreshold(&huart3, UART_TXFIFO_THRESHOLD_1_8) != HAL_OK)
  {
    Error_Handler();
  }
  if (HAL_UARTEx_SetRxFifoThreshold(&huart3, UART_RXFIFO_THRESHOLD_1_8) != HAL_OK)
  {
    Error_Handler();
  }
  if (HAL_UARTEx_DisableFifoMode(&huart3) != HAL_OK)
  {
    Error_Handler();
  }

}

static void MX_GPIO_Init(void)
{
  GPIO_InitTypeDef GPIO_InitStruct = {0};

  /* GPIO Ports Clock Enable */
  __HAL_RCC_GPIOB_CLK_ENABLE();
  __HAL_RCC_GPIOG_CLK_ENABLE();
  __HAL_RCC_GPIOD_CLK_ENABLE();
  __HAL_RCC_GPIOA_CLK_ENABLE();
  __HAL_RCC_GPIOE_CLK_ENABLE();
  __HAL_RCC_GPIOC_CLK_ENABLE();
  __HAL_RCC_GPIOH_CLK_ENABLE();
  __HAL_RCC_GPIOF_CLK_ENABLE();

  /*Configure GPIO pin Output Level */
  HAL_GPIO_WritePin(E2_WP_GPIO_Port, E2_WP_Pin, GPIO_PIN_RESET);

  /*Configure GPIO pin Output Level */
  HAL_GPIO_WritePin(LCD_BL_CTRL_GPIO_Port, LCD_BL_CTRL_Pin, GPIO_PIN_RESET);

  /*Configure GPIO pin Output Level */
  HAL_GPIO_WritePin(LCD_RST_GPIO_Port, LCD_RST_Pin, GPIO_PIN_RESET);

  /*Configure GPIO pin : E2_WP_Pin */
  GPIO_InitStruct.Pin = E2_WP_Pin;
  GPIO_InitStruct.Mode = GPIO_MODE_OUTPUT_PP;
  GPIO_InitStruct.Pull = GPIO_NOPULL;
  GPIO_InitStruct.Speed = GPIO_SPEED_FREQ_LOW;
  HAL_GPIO_Init(E2_WP_GPIO_Port, &GPIO_InitStruct);

  /*Configure GPIO pins : PF15 PF14 */
  GPIO_InitStruct.Pin = GPIO_PIN_15|GPIO_PIN_14;
  GPIO_InitStruct.Mode = GPIO_MODE_AF_OD;
  GPIO_InitStruct.Pull = GPIO_PULLUP;
  GPIO_InitStruct.Speed = GPIO_SPEED_FREQ_LOW;
  GPIO_InitStruct.Alternate = GPIO_AF4_I2C4;
  HAL_GPIO_Init(GPIOF, &GPIO_InitStruct);

  /*Configure GPIO pin : LCD_BL_CTRL_Pin */
  GPIO_InitStruct.Pin = LCD_BL_CTRL_Pin;
  GPIO_InitStruct.Mode = GPIO_MODE_OUTPUT_PP;
  GPIO_InitStruct.Pull = GPIO_NOPULL;
  GPIO_InitStruct.Speed = GPIO_SPEED_FREQ_LOW;
  HAL_GPIO_Init(LCD_BL_CTRL_GPIO_Port, &GPIO_InitStruct);

  /*Configure GPIO pin : LCD_RST_Pin */
  GPIO_InitStruct.Pin = LCD_RST_Pin;
  GPIO_InitStruct.Mode = GPIO_MODE_OUTPUT_PP;
  GPIO_InitStruct.Pull = GPIO_NOPULL;
  GPIO_InitStruct.Speed = GPIO_SPEED_FREQ_LOW;
  HAL_GPIO_Init(LCD_RST_GPIO_Port, &GPIO_InitStruct);

}

/* USER CODE BEGIN 4 */
void NV3052_RGB_init(void)
{
	/*Configure GPIO pin Output Level */
	HAL_GPIO_WritePin(LCD_RST_GPIO_Port, LCD_RST_Pin, GPIO_PIN_SET);
	HAL_Delay(10);
	HAL_GPIO_WritePin(LCD_RST_GPIO_Port, LCD_RST_Pin, GPIO_PIN_RESET);
	HAL_Delay(10);
	HAL_GPIO_WritePin(LCD_RST_GPIO_Port, LCD_RST_Pin, GPIO_PIN_SET);
	HAL_Delay(100);

	//Page 1
	Wrt_Reg_3052(0xFF,0x30);   //
	Wrt_Reg_3052(0xFF,0x52);   //Page selection
	Wrt_Reg_3052(0xFF,0x01);   //
	Wrt_Reg_3052(0xE3,0x00);
	Wrt_Reg_3052(0xF6,0xC0);
	Wrt_Reg_3052(0xF0,0x00);
	Wrt_Reg_3052(0x0A,0x01);
	Wrt_Reg_3052(0x23,0xA0);
	Wrt_Reg_3052(0x24,0x10);
	Wrt_Reg_3052(0x25,0x10);
	Wrt_Reg_3052(0x26,0x2E);
	Wrt_Reg_3052(0x27,0x2E);
	Wrt_Reg_3052(0x29,0x02);
	Wrt_Reg_3052(0x2A,0x9F);
	Wrt_Reg_3052(0x32,0x34);
	Wrt_Reg_3052(0x38,0x9C);
	Wrt_Reg_3052(0x39,0xA7);
	Wrt_Reg_3052(0x3A,0x3f);
	Wrt_Reg_3052(0x3B,0x94);
	Wrt_Reg_3052(0x40,0x07);
	Wrt_Reg_3052(0x42,0x6D);
	Wrt_Reg_3052(0x43,0x83);
	Wrt_Reg_3052(0x81,0x00);
	Wrt_Reg_3052(0x91,0x77);
	Wrt_Reg_3052(0x92,0x77);
	Wrt_Reg_3052(0xA0,0x52);
	Wrt_Reg_3052(0xA1,0x50);
	Wrt_Reg_3052(0xA4,0x9C);
	Wrt_Reg_3052(0xA7,0x02);
	Wrt_Reg_3052(0xA8,0x02);
	Wrt_Reg_3052(0xA9,0x02);
	Wrt_Reg_3052(0xAA,0xA8);
	Wrt_Reg_3052(0xAB,0x28);
	Wrt_Reg_3052(0xAE,0xD2);
	Wrt_Reg_3052(0xAF,0x02);
	Wrt_Reg_3052(0xB0,0xD2);
	Wrt_Reg_3052(0xB2,0x26);
	Wrt_Reg_3052(0xB3,0x26);

	//Page 2
	Wrt_Reg_3052(0xFF,0x30);   //
	Wrt_Reg_3052(0xFF,0x52);   //Page selection
	Wrt_Reg_3052(0xFF,0x02);   //
	Wrt_Reg_3052(0xB0,0x02);
	Wrt_Reg_3052(0xB1,0x10);
	Wrt_Reg_3052(0xB2,0x0E);
	Wrt_Reg_3052(0xB3,0x35);
	Wrt_Reg_3052(0xB4,0x37);
	Wrt_Reg_3052(0xB5,0x3C);
	Wrt_Reg_3052(0xB6,0x1A);
	Wrt_Reg_3052(0xB7,0x38);
	Wrt_Reg_3052(0xB8,0x0E);
	Wrt_Reg_3052(0xB9,0x05);
	Wrt_Reg_3052(0xBA,0x11);
	Wrt_Reg_3052(0xBB,0x11);
	Wrt_Reg_3052(0xBC,0x13);
	Wrt_Reg_3052(0xBD,0x14);
	Wrt_Reg_3052(0xBE,0x16);
	Wrt_Reg_3052(0xBF,0x0C);
	Wrt_Reg_3052(0xC0,0x17);
	Wrt_Reg_3052(0xC1,0x06);
	Wrt_Reg_3052(0xD0,0x02);
	Wrt_Reg_3052(0xD1,0x10);
	Wrt_Reg_3052(0xD2,0x0E);
	Wrt_Reg_3052(0xD3,0x35);
	Wrt_Reg_3052(0xD4,0x37);
	Wrt_Reg_3052(0xD5,0x3C);
	Wrt_Reg_3052(0xD6,0x1A);
	Wrt_Reg_3052(0xD7,0x39);
	Wrt_Reg_3052(0xD8,0x0E);
	Wrt_Reg_3052(0xD9,0x05);
	Wrt_Reg_3052(0xDA,0x11);
	Wrt_Reg_3052(0xDB,0x11);
	Wrt_Reg_3052(0xDC,0x13);
	Wrt_Reg_3052(0xDD,0x14);
	Wrt_Reg_3052(0xDE,0x16);
	Wrt_Reg_3052(0xDF,0x0C);
	Wrt_Reg_3052(0xE0,0x17);
	Wrt_Reg_3052(0xE1,0x06);

	//Page 3
	Wrt_Reg_3052(0xFF,0x30);   //
	Wrt_Reg_3052(0xFF,0x52);   //Page selection
	Wrt_Reg_3052(0xFF,0x03);   //
	Wrt_Reg_3052(0x00,0x2A);
	Wrt_Reg_3052(0x01,0x2A);
	Wrt_Reg_3052(0x02,0x2A);
	Wrt_Reg_3052(0x03,0x2A);
	Wrt_Reg_3052(0x04,0x81);
	Wrt_Reg_3052(0x06,0x26);
	Wrt_Reg_3052(0x07,0x02);
	Wrt_Reg_3052(0x08,0x06);
	Wrt_Reg_3052(0x09,0x07);
	Wrt_Reg_3052(0x0A,0x08);
	Wrt_Reg_3052(0x0B,0x09);
	Wrt_Reg_3052(0x20,0x2A);
	Wrt_Reg_3052(0x21,0x2A);
	Wrt_Reg_3052(0x22,0x2A);
	Wrt_Reg_3052(0x23,0x2A);
	Wrt_Reg_3052(0x24,0x81);
	Wrt_Reg_3052(0x26,0x26);
	Wrt_Reg_3052(0x27,0x02);
	Wrt_Reg_3052(0x28,0x00);
	Wrt_Reg_3052(0x2A,0x02);
	Wrt_Reg_3052(0x2B,0x02);
	Wrt_Reg_3052(0x70,0x32);
	Wrt_Reg_3052(0x71,0x00);
	Wrt_Reg_3052(0x30,0x2A);
	Wrt_Reg_3052(0x31,0x2A);
	Wrt_Reg_3052(0x32,0x2A);
	Wrt_Reg_3052(0x33,0x2A);
	Wrt_Reg_3052(0x34,0x81);
	Wrt_Reg_3052(0x35,0x26);
	Wrt_Reg_3052(0x37,0x13);
	Wrt_Reg_3052(0x40,0x09);
	Wrt_Reg_3052(0x41,0x0A);
	Wrt_Reg_3052(0x42,0x0B);
	Wrt_Reg_3052(0x43,0x0C);
	Wrt_Reg_3052(0x44,0x22);
	Wrt_Reg_3052(0x45,0xB1);
	Wrt_Reg_3052(0x46,0xB2);
	Wrt_Reg_3052(0x47,0x22);
	Wrt_Reg_3052(0x48,0xB3);
	Wrt_Reg_3052(0x49,0xB4);

	Wrt_Reg_3052(0x50,0x0D);
	Wrt_Reg_3052(0x51,0x0E);
	Wrt_Reg_3052(0x52,0x0F);
	Wrt_Reg_3052(0x53,0x10);
	Wrt_Reg_3052(0x54,0x22);
	Wrt_Reg_3052(0x55,0xB5);
	Wrt_Reg_3052(0x56,0xB6);
	Wrt_Reg_3052(0x57,0x22);
	Wrt_Reg_3052(0x58,0xB7);
	Wrt_Reg_3052(0x59,0xB8);

	Wrt_Reg_3052(0x80,0x00);
	Wrt_Reg_3052(0x81,0x1F);
	Wrt_Reg_3052(0x82,0x00);
	Wrt_Reg_3052(0x83,0x06);
	Wrt_Reg_3052(0x84,0x0E);
	Wrt_Reg_3052(0x85,0x10);
	Wrt_Reg_3052(0x86,0x0A);
	Wrt_Reg_3052(0x87,0x0C);
	Wrt_Reg_3052(0x88,0x00);
	Wrt_Reg_3052(0x89,0x1F);
	Wrt_Reg_3052(0x8A,0x02);
	Wrt_Reg_3052(0x8B,0x04);
	Wrt_Reg_3052(0x96,0x00);
	Wrt_Reg_3052(0x97,0x1F);
	Wrt_Reg_3052(0x98,0x00);
	Wrt_Reg_3052(0x99,0x05);
	Wrt_Reg_3052(0x9A,0x0D);
	Wrt_Reg_3052(0x9B,0x0F);
	Wrt_Reg_3052(0x9C,0x09);
	Wrt_Reg_3052(0x9D,0x0B);
	Wrt_Reg_3052(0x9E,0x00);
	Wrt_Reg_3052(0x9F,0x1F);
	Wrt_Reg_3052(0xA0,0x01);
	Wrt_Reg_3052(0xA1,0x03);
	Wrt_Reg_3052(0xB0,0x1F);
	Wrt_Reg_3052(0xB1,0x00);
	Wrt_Reg_3052(0xB2,0x00);
	Wrt_Reg_3052(0xB3,0x06);
	Wrt_Reg_3052(0xB4,0x0B);
	Wrt_Reg_3052(0xB5,0x09);
	Wrt_Reg_3052(0xB6,0x0F);
	Wrt_Reg_3052(0xB7,0x0D);
	Wrt_Reg_3052(0xB8,0x00);
	Wrt_Reg_3052(0xB9,0x1F);
	Wrt_Reg_3052(0xBA,0x03);
	Wrt_Reg_3052(0xBB,0x01);
	Wrt_Reg_3052(0xC6,0x1F);
	Wrt_Reg_3052(0xC7,0x00);
	Wrt_Reg_3052(0xC8,0x00);
	Wrt_Reg_3052(0xC9,0x05);
	Wrt_Reg_3052(0xCA,0x0C);
	Wrt_Reg_3052(0xCB,0x0A);
	Wrt_Reg_3052(0xCC,0x10);
	Wrt_Reg_3052(0xCD,0x0E);
	Wrt_Reg_3052(0xCE,0x00);
	Wrt_Reg_3052(0xCF,0x1F);
	Wrt_Reg_3052(0xD0,0x04);
	Wrt_Reg_3052(0xD1,0x02);

	//Page 0
	Wrt_Reg_3052(0xFF,0x30);   //
	Wrt_Reg_3052(0xFF,0x52);   //Page selection
	Wrt_Reg_3052(0xFF,0x00);   //
	Wrt_Reg_3052(0x36,0x0A);
	Wrt_Reg_3052(0x11,0x00);
	HAL_Delay(200);
	Wrt_Reg_3052(0x29,0x00);
	HAL_Delay(500);

	//Brightness control
//	Wrt_Reg_3052(0x55,0x01);
//	Wrt_Reg_3052(0x53,0x08);
//	HAL_Delay(100);
//	Wrt_Reg_3052(0x51,0xFF);
//	Wrt_Reg_3052(0x55,0x02);
}

void WriteCommand(unsigned char cmd)
{
	unsigned char cmd_data[2];
	cmd_data[0] = cmd;
	cmd_data[1] = 0x00;
	HAL_SPI_Transmit(&hspi5, cmd_data, 1, 100000);
}

void WriteData(unsigned char dat)
{
	unsigned char data[2];
	data[0] = dat;
	data[1] = 0x01;
	HAL_SPI_Transmit(&hspi5, data, 1, 100000);
}

void Wrt_Reg_3052(unsigned char d1,unsigned char d2)
{
	WriteCommand(d1);
	WriteData(d2);
}
/* USER CODE END 4 */

void StartDefaultTask(void *argument)
{
  /* USER CODE BEGIN 5 */
  FMK_Entry();
  /* Infinite loop */
  for(;;)
  {
    FMK_Main();
  }
  /* USER CODE END 5 */
}

/* MPU Configuration */

void MPU_Config(void)
{
  MPU_Region_InitTypeDef MPU_InitStruct = {0};

  /* Disables the MPU */
  HAL_MPU_Disable();

  /** Initializes and configures the Region and the memory to be protected
  */
  MPU_InitStruct.Enable = MPU_REGION_ENABLE;
  MPU_InitStruct.Number = MPU_REGION_NUMBER0;
  MPU_InitStruct.BaseAddress = 0x24000000;
  MPU_InitStruct.Size = MPU_REGION_SIZE_512KB;
  MPU_InitStruct.SubRegionDisable = 0x0;
  MPU_InitStruct.TypeExtField = MPU_TEX_LEVEL0;
  MPU_InitStruct.AccessPermission = MPU_REGION_FULL_ACCESS;
  MPU_InitStruct.DisableExec = MPU_INSTRUCTION_ACCESS_DISABLE;
  MPU_InitStruct.IsShareable = MPU_ACCESS_NOT_SHAREABLE;
  MPU_InitStruct.IsCacheable = MPU_ACCESS_CACHEABLE;
  MPU_InitStruct.IsBufferable = MPU_ACCESS_BUFFERABLE;

  HAL_MPU_ConfigRegion(&MPU_InitStruct);

  /** Initializes and configures the Region and the memory to be protected
  */
  MPU_InitStruct.Number = MPU_REGION_NUMBER1;
  MPU_InitStruct.BaseAddress = 0x70000000;
  MPU_InitStruct.Size = MPU_REGION_SIZE_512MB;
  MPU_InitStruct.AccessPermission = MPU_REGION_NO_ACCESS;
  MPU_InitStruct.IsCacheable = MPU_ACCESS_NOT_CACHEABLE;
  MPU_InitStruct.IsBufferable = MPU_ACCESS_NOT_BUFFERABLE;

  HAL_MPU_ConfigRegion(&MPU_InitStruct);

  /** Initializes and configures the Region and the memory to be protected
  */
  MPU_InitStruct.Number = MPU_REGION_NUMBER2;
  MPU_InitStruct.Size = MPU_REGION_SIZE_8MB;
  MPU_InitStruct.AccessPermission = MPU_REGION_FULL_ACCESS;
  MPU_InitStruct.IsCacheable = MPU_ACCESS_CACHEABLE;
  MPU_InitStruct.IsBufferable = MPU_ACCESS_BUFFERABLE;

  HAL_MPU_ConfigRegion(&MPU_InitStruct);

  /** Initializes and configures the Region and the memory to be protected
  */
  MPU_InitStruct.Number = MPU_REGION_NUMBER3;
  MPU_InitStruct.BaseAddress = 0x90000000;
  MPU_InitStruct.Size = MPU_REGION_SIZE_512MB;
  MPU_InitStruct.AccessPermission = MPU_REGION_NO_ACCESS;
  MPU_InitStruct.IsCacheable = MPU_ACCESS_NOT_CACHEABLE;
  MPU_InitStruct.IsBufferable = MPU_ACCESS_NOT_BUFFERABLE;

  HAL_MPU_ConfigRegion(&MPU_InitStruct);

  /** Initializes and configures the Region and the memory to be protected
  */
  MPU_InitStruct.Number = MPU_REGION_NUMBER4;
  MPU_InitStruct.Size = MPU_REGION_SIZE_64MB;
  MPU_InitStruct.AccessPermission = MPU_REGION_FULL_ACCESS;
  MPU_InitStruct.DisableExec = MPU_INSTRUCTION_ACCESS_ENABLE;
  MPU_InitStruct.IsCacheable = MPU_ACCESS_CACHEABLE;

  HAL_MPU_ConfigRegion(&MPU_InitStruct);
  /* Enables the MPU */
  HAL_MPU_Enable(MPU_PRIVILEGED_DEFAULT);

}

void HAL_TIM_PeriodElapsedCallback(TIM_HandleTypeDef *htim)
{
  if (htim->Instance == TIM6) {
    HAL_IncTick();
  }
}

void Error_Handler(void)
{
  __disable_irq();
  while (1)
  {
  }
}
